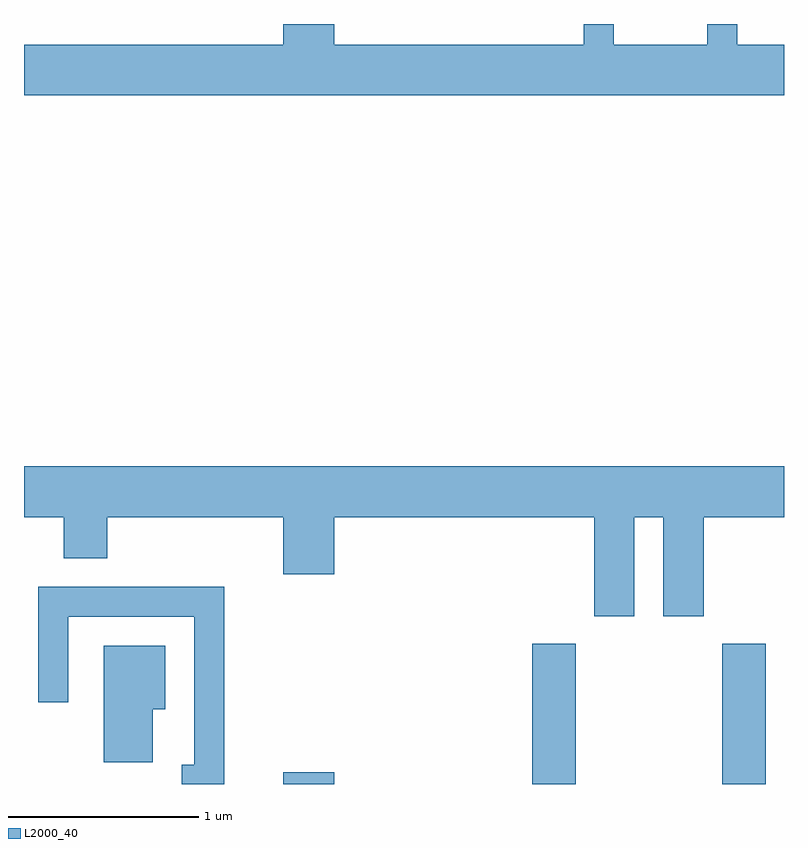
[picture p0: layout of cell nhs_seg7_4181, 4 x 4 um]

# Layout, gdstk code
import gdstk
lib = gdstk.Library(unit=1e-6, precision=1e-09)
def R(c, l, rs):  # rectangles x0, y0, x1, y1
    for r in rs: c.add(gdstk.rectangle(r[:2], r[2:], *l))
def P(c, l, *ps):  # polygons
    for p in ps: c.add(gdstk.Polygon(p, *l))
L2000_40 = (2000, 40)

nhs_seg7_4181 = lib.new_cell('nhs_seg7_4181')
R(nhs_seg7_4181, L2000_40, [(314.976,1706.252,315.244,1706.314), (316.286,1706.252,316.514,1706.989), (317.286,1706.252,317.514,1706.989)])
P(nhs_seg7_4181, L2000_40, [(317.611,1710.144),(317.364,1710.144),(317.364,1710.252),(317.206,1710.252),(317.206,1710.144),(316.714,1710.144),(316.714,1710.252),(316.556,1710.252),(316.556,1710.144),(315.244,1710.144),(315.244,1710.252),(314.976,1710.252),(314.976,1710.144),(313.611,1710.144),(313.611,1709.876),(317.611,1709.876)],
  [(316.824,1707.656),(316.976,1707.656),(316.976,1707.136),(317.189,1707.136),(317.189,1707.656),(317.611,1707.656),(317.611,1707.924),(313.611,1707.924),(313.611,1707.656),(313.821,1707.656),(313.821,1707.441),(314.049,1707.441),(314.049,1707.656),(314.976,1707.656),(314.976,1707.356),(315.244,1707.356),(315.244,1707.656),(316.611,1707.656),(316.611,1707.136),(316.824,1707.136)],
  [(314.664,1707.289),(313.686,1707.289),(313.686,1706.683),(313.844,1706.683),(313.844,1707.131),(314.506,1707.131),(314.506,1706.354),(314.441,1706.354),(314.441,1706.252),(314.664,1706.252)],
  [(314.289,1706.646),(314.354,1706.646),(314.354,1706.979),(314.031,1706.979),(314.031,1706.366),(314.289,1706.366)])

lib.write_gds('nhs_seg7_4181.gds')
